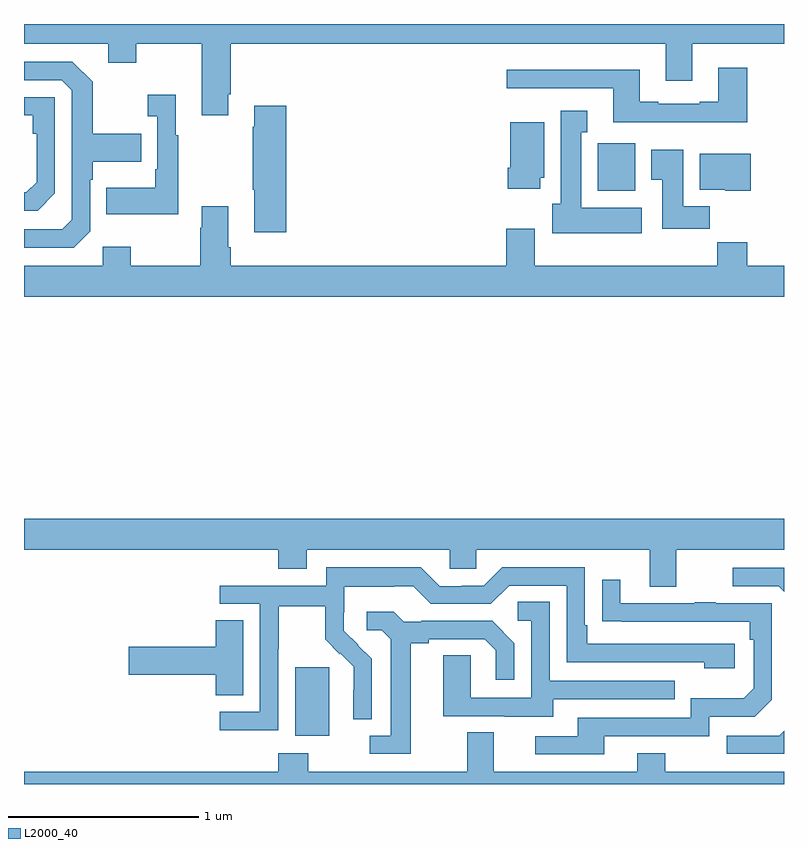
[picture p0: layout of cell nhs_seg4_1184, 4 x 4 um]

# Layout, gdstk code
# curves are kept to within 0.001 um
import gdstk
lib = gdstk.Library(unit=1e-6, precision=1e-09)
def R(c, l, rs):  # rectangles x0, y0, x1, y1
    for r in rs: c.add(gdstk.rectangle(r[:2], r[2:], *l))
def P(c, l, *ps):  # polygons
    for p in ps: c.add(gdstk.Polygon(p, *l))
L2000_40 = (2000, 40)

nhs_seg4_1184 = lib.new_cell('nhs_seg4_1184')
R(nhs_seg4_1184, L2000_40, [(172.427,817.154,172.606,817.515), (174.021,820.022,174.217,820.272)])
P(nhs_seg4_1184, L2000_40, [(171,820.796),(171.443,820.796),(171.443,820.697),(171.591,820.697),(171.591,820.796),(171.935,820.796),(171.935,820.419),(172.075,820.419),(172.075,820.531),(172.088,820.531),(172.088,820.796),(174.377,820.796),(174.377,820.602),(174.517,820.602),(174.517,820.796),(175,820.796),(175,820.9),(171,820.9)],
  [(171.348,819.81),(171.348,820.079),(171.361,820.079),(171.361,820.175),(171.617,820.175),(171.617,820.323),(171.361,820.323),(171.361,820.595),(171.255,820.701),(171,820.701),(171,820.605),(171.198,820.605),(171.252,820.551),(171.252,819.87),(171.201,819.819),(171,819.819),(171,819.723),(171.261,819.723)],
  [(174.806,820.669),(174.653,820.669),(174.653,820.492),(174.557,820.492),(174.557,820.479),(174.337,820.479),(174.337,820.492),(174.241,820.492),(174.241,820.66),(173.541,820.66),(173.541,820.563),(174.101,820.563),(174.101,820.382),(174.806,820.382)],
  [(171.811,820.315),(171.799,820.315),(171.799,820.528),(171.651,820.528),(171.651,820.415),(171.702,820.415),(171.702,820.135),(171.69,820.135),(171.69,820.039),(171.433,820.039),(171.433,819.899),(171.811,819.899)],
  [(171.162,820.008),(171.162,820.515),(171,820.515),(171,820.419),(171.046,820.419),(171.046,820.322),(171.066,820.322),(171.066,820.068),(171.013,820.015),(171,820.015),(171,819.918),(171.072,819.918)],
  [(172.379,820.471),(172.211,820.471),(172.211,820.358),(172.204,820.358),(172.204,820.027),(172.211,820.027),(172.211,819.804),(172.379,819.804)],
  [(174.25,819.934),(173.932,819.934),(173.932,820.331),(173.965,820.331),(173.965,820.444),(173.825,820.444),(173.825,819.954),(173.78,819.954),(173.78,819.8),(174.25,819.8)],
  [(173.716,820.092),(173.737,820.092),(173.737,820.384),(173.558,820.384),(173.558,820.144),(173.546,820.144),(173.546,820.032),(173.716,820.032)],
  [(174.608,819.94),(174.469,819.94),(174.469,820.237),(174.302,820.237),(174.302,820.081),(174.359,820.081),(174.359,819.822),(174.608,819.822)],
  [(174.826,820.216),(174.557,820.216),(174.557,820.028),(174.69,820.028),(174.69,820.022),(174.826,820.022)],
  [(175,819.628),(174.806,819.628),(174.806,819.752),(174.649,819.752),(174.649,819.628),(173.689,819.628),(173.689,819.823),(173.537,819.823),(173.537,819.628),(172.088,819.628),(172.088,819.724),(172.075,819.724),(172.075,819.94),(171.935,819.94),(171.935,819.827),(171.928,819.827),(171.928,819.628),(171.561,819.628),(171.561,819.727),(171.414,819.727),(171.414,819.628),(171,819.628),(171,819.464),(175,819.464)],
  [(174.433,818.132),(175,818.132),(175,818.296),(171,818.296),(171,818.132),(172.337,818.132),(172.337,818.033),(172.489,818.033),(172.489,818.132),(173.241,818.132),(173.241,818.034),(173.379,818.034),(173.379,818.132),(174.293,818.132),(174.293,817.938),(174.433,817.938)],
  [(172.338,817.612),(172.341,817.612),(172.341,817.836),(172.585,817.836),(172.585,817.661),(172.662,817.584),(172.665,817.587),(172.736,817.517),(172.736,817.394),(172.734,817.394),(172.734,817.24),(172.83,817.24),(172.83,817.558),(172.684,817.706),(172.684,817.803),(172.686,817.803),(172.686,817.937),(172.949,817.937),(172.949,817.941),(173.049,817.941),(173.142,817.848),(173.457,817.848),(173.553,817.944),(173.856,817.944),(173.856,817.542),(174.581,817.542),(174.581,817.508),(174.742,817.508),(174.742,817.638),(173.965,817.638),(173.965,817.735),(173.952,817.735),(173.952,818.04),(173.517,818.04),(173.421,817.944),(173.303,817.944),(173.303,817.941),(173.187,817.941),(173.087,818.041),(172.59,818.041),(172.59,817.944),(172.029,817.944),(172.029,817.848),(172.242,817.848),(172.242,817.281),(172.029,817.281),(172.029,817.183),(172.338,817.183)],
  [(175,818.037),(174.729,818.037),(174.729,817.941),(174.972,817.941),(175,817.913)],
  [(174.055,817.152),(174.606,817.152),(174.606,817.254),(174.846,817.254),(174.936,817.344),(174.936,817.851),(174.641,817.851),(174.641,817.856),(174.529,817.856),(174.529,817.851),(174.139,817.851),(174.139,817.975),(174.043,817.975),(174.043,817.756),(174.82,817.755),(174.82,817.658),(174.84,817.658),(174.84,817.404),(174.787,817.351),(174.51,817.351),(174.51,817.248),(173.915,817.248),(173.915,817.152),(173.691,817.152),(173.691,817.056),(174.055,817.056)],
  [(173.785,817.347),(174.425,817.347),(174.425,817.443),(173.766,817.443),(173.766,817.859),(173.598,817.859),(173.598,817.758),(173.67,817.758),(173.67,817.353),(173.352,817.353),(173.352,817.577),(173.207,817.577),(173.207,817.257),(173.531,817.257),(173.531,817.253),(173.785,817.253)],
  [(173.035,817.64),(173.131,817.64),(173.131,817.662),(173.426,817.662),(173.483,817.605),(173.483,817.449),(173.58,817.449),(173.58,817.642),(173.464,817.758),(173.092,817.758),(173.092,817.755),(172.998,817.755),(172.946,817.807),(172.803,817.807),(172.803,817.71),(172.884,817.71),(172.931,817.663),(172.931,817.155),(172.821,817.155),(172.821,817.059),(173.035,817.059)],
  [(172.153,817.763),(172.01,817.763),(172.01,817.622),(171.552,817.622),(171.552,817.475),(172.01,817.475),(172.01,817.366),(172.153,817.366)],
  [(175,817.18),(174.975,817.155),(174.699,817.155),(174.699,817.059),(175,817.059)],
  [(175,816.964),(174.375,816.964),(174.375,817.063),(174.227,817.063),(174.227,816.964),(173.473,816.964),(173.473,817.172),(173.333,817.172),(173.333,816.964),(172.497,816.964),(172.497,817.063),(172.337,817.063),(172.337,816.964),(171,816.964),(171,816.9),(175,816.9)])

lib.write_gds('nhs_seg4_1184.gds')
